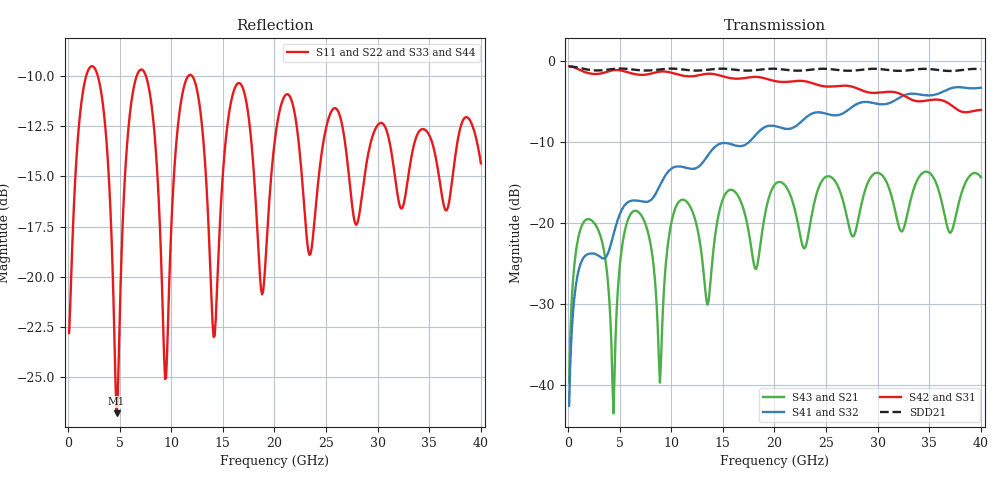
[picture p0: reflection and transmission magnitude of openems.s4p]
! T_ts6_diff_ms: Edge-coupled microstrip pair L1, w 0.127 / s 0.127 mm (ThunderScope default), 20 mm
! stackup: ThunderScope Rev5.3 6-layer (FR408HR / FR-4, from the board file)
! ports: 1 near A, 2 near B, 3 far A, 4 far B
! openEMS 0.37.0, staircase, fine mesh (dfine 0.0175 mm), 1068550 cells
# Hz S RI R 50
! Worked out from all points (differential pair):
!   400 points, 100 MHz to 40 GHz, reference 50 ohm
!   strongest paths, dB at 100 MHz, 10.1 GHz, 20.1 GHz, 30.1 GHz, 40 GHz:
!     S42: -0.6, -1.5, -2.5, -3.9, -6.0
!     S31: -0.6, -1.5, -2.5, -3.9, -6.0
!     S41: -42.5, -13.2, -8.0, -5.3, -3.3
!     S32: -42.5, -13.2, -8.0, -5.3, -3.3
!     S43: -39.6, -19.4, -15.1, -13.8, -14.3
!     S21: -39.6, -19.4, -15.1, -13.8, -14.3
!   taken as a pair (ports 2,1 in; 4,3 out), SDD21 dB: -0.7, -0.9, -0.9, -1.0, -1.0
!   lowest |S11| = -26.8 dB at 4.7 GHz (marker M1), VSWR 1.10, Z = 54.8 - j0.0856 ohm
!   |S11| at or under -10 dB: 2.88 GHz to 6.651 GHz (3.771 GHz wide, 79.1 % of centre); 7.54 GHz to 11.65 GHz (4.108 GHz wide, 42.8 % of centre); 12.02 GHz to end of sweep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
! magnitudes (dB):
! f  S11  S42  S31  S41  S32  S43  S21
! 100 MHz  -22.8  -0.6  -0.6  -42.5  -42.5  -39.6  -39.6
! 1.5 GHz  -10.6  -1.3  -1.3  -24.2  -24.2  -19.9  -19.9
! 4.7 GHz  -26.8  -1.1  -1.1  -20.0  -20.0  -31.0  -31.0
! 7 GHz  -9.7  -1.7  -1.7  -17.3  -17.3  -18.9  -18.9
! 8.9 GHz  -17.5  -1.3  -1.3  -15.3  -15.3  -39.7  -39.7
! 10.9 GHz  -11.4  -1.7  -1.7  -13.0  -13.0  -17.2  -17.2
! 40 GHz  -14.3  -6.0  -6.0  -3.3  -3.3  -14.3  -14.3
